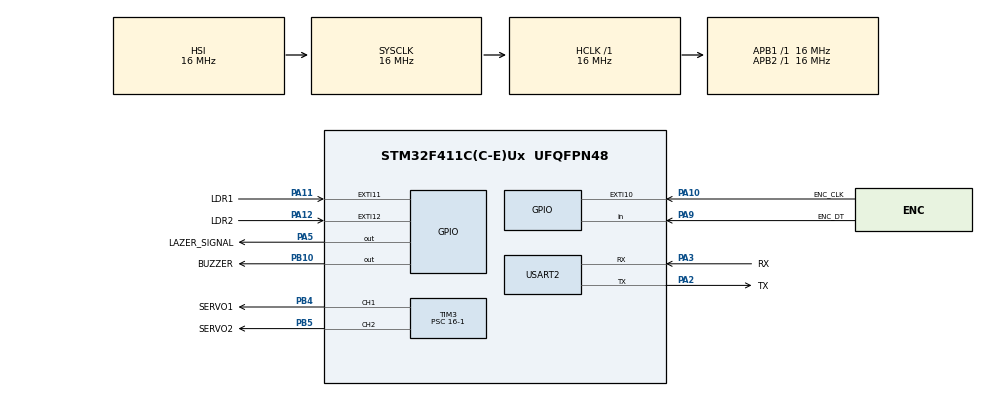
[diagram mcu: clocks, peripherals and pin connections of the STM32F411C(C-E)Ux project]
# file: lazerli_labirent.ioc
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Mcu.Family=STM32F4
Mcu.Name=STM32F411C(C-E)Ux
Mcu.Package=UFQFPN48
NVIC.EXTI15_10_IRQn=true\:0\:0\:false\:false\:true\:true\:true\:true
NVIC.PriorityGroup=NVIC_PRIORITYGROUP_4
NVIC.USART2_IRQn=true\:0\:0\:false\:false\:true\:true\:true\:true
PA10.GPIO_Label=ENC_CLK
PA10.GPIO_ModeDefaultEXTI=GPIO_MODE_IT_RISING
PA10.Signal=GPXTI10
PA11.GPIO_Label=LDR1
PA11.GPIO_ModeDefaultEXTI=GPIO_MODE_IT_RISING_FALLING
PA11.Signal=GPXTI11
PA12.GPIO_Label=LDR2
PA12.GPIO_ModeDefaultEXTI=GPIO_MODE_IT_RISING_FALLING
PA12.Signal=GPXTI12
PA2.GPIO_Label=TX
PA2.Mode=Asynchronous
PA2.Signal=USART2_TX
PA3.GPIO_Label=RX
PA3.Mode=Asynchronous
PA3.Signal=USART2_RX
PA5.GPIO_Label=LAZER_SIGNAL
PA5.Signal=GPIO_Output
PA9.GPIO_Label=ENC_DT
PA9.GPIO_PuPd=GPIO_PULLUP
PA9.Signal=GPIO_Input
PB10.GPIO_Label=BUZZER
PB10.Signal=GPIO_Output
PB4.GPIO_Label=SERVO1
PB4.Signal=S_TIM3_CH1
PB5.GPIO_Label=SERVO2
PB5.Signal=S_TIM3_CH2
ProjectManager.HeapSize=0x200
ProjectManager.StackSize=0x400
ProjectManager.TargetToolchain=STM32CubeIDE
RCC.AHBFreq_Value=16000000
RCC.APB1Freq_Value=16000000
RCC.APB2Freq_Value=16000000
RCC.CortexFreq_Value=16000000
RCC.HSE_VALUE=25000000
RCC.HSI_VALUE=16000000
RCC.LSE_VALUE=32768
RCC.SYSCLKFreq_VALUE=16000000
RCC.VCOOutputFreq_Value=192000000
SH.S_TIM3_CH1.0=TIM3_CH1,PWM Generation1 CH1
SH.S_TIM3_CH2.0=TIM3_CH2,PWM Generation2 CH2
TIM3.Channel-PWM\ Generation1\ CH1=TIM_CHANNEL_1
TIM3.Channel-PWM\ Generation2\ CH2=TIM_CHANNEL_2
TIM3.Period=19999
TIM3.Prescaler=16-1
USART2.VirtualMode=VM_ASYNC
VP_TIM3_VS_ClockSourceINT.Mode=Internal
board=custom

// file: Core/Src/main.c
/* USER CODE BEGIN Header */
/**
 ******************************************************************************
 * @file           : main.c
 * @brief          : Main program body
 ******************************************************************************
 * @attention
 *
 * Copyright (c) 2026 STMicroelectronics.
 * All rights reserved.
 *
 * This software is licensed under terms that can be found in the LICENSE file
 * in the root directory of this software component.
 * If no LICENSE file comes with this software, it is provided AS-IS.
 *
 ******************************************************************************
 */
/* USER CODE END Header */
#include "main.h"

TIM_HandleTypeDef htim3;

UART_HandleTypeDef huart2;

/* USER CODE BEGIN PV */

uint8_t rx_buffer; // UART üzerinden asenkron olarak alınacak 1 Byte'lık komutu tutan değişken

/* USER CODE END PV */

void SystemClock_Config(void);
static void MX_GPIO_Init(void);
static void MX_TIM3_Init(void);
static void MX_USART2_UART_Init(void);

/* USER CODE BEGIN 0 */
volatile int servo_1_pwm = 1500;
volatile int servo_2_pwm = 1500;

/* USER CODE END 0 */

int main(void)
{

  /* MCU Configuration--------------------------------------------------------*/

  /* Reset of all peripherals, Initializes the Flash interface and the Systick. */
  HAL_Init();

  /* Configure the system clock */
  SystemClock_Config();

  /* Initialize all configured peripherals */
  MX_GPIO_Init();
  MX_TIM3_Init();
  MX_USART2_UART_Init();
  /* USER CODE BEGIN 2 */
	// servolar başlatıldı
	HAL_TIM_PWM_Start(&htim3, TIM_CHANNEL_1);
	HAL_TIM_PWM_Start(&htim3, TIM_CHANNEL_2);

	//servolar istenen pwm degerine getirildi
	__HAL_TIM_SET_COMPARE(&htim3, TIM_CHANNEL_1, servo_1_pwm);
	__HAL_TIM_SET_COMPARE(&htim3, TIM_CHANNEL_2, servo_2_pwm);

	// --- 2. UART Kesmesinin (Interrupt) Başlatılması ---
	// USART2 üzerinden 1 byte veri geldiğinde donanım kesmesi oluşturmasını sağlar.
	HAL_UART_Receive_IT(&huart2, &rx_buffer, 1);

  /* USER CODE END 2 */

  /* Infinite loop */
	while (1) {
	}

}

void SystemClock_Config(void)
{
  RCC_OscInitTypeDef RCC_OscInitStruct = {0};
  RCC_ClkInitTypeDef RCC_ClkInitStruct = {0};

  /** Configure the main internal regulator output voltage
  */
  __HAL_RCC_PWR_CLK_ENABLE();
  __HAL_PWR_VOLTAGESCALING_CONFIG(PWR_REGULATOR_VOLTAGE_SCALE1);

  /** Initializes the RCC Oscillators according to the specified parameters
  * in the RCC_OscInitTypeDef structure.
  */
  RCC_OscInitStruct.OscillatorType = RCC_OSCILLATORTYPE_HSI;
  RCC_OscInitStruct.HSIState = RCC_HSI_ON;
  RCC_OscInitStruct.HSICalibrationValue = RCC_HSICALIBRATION_DEFAULT;
  RCC_OscInitStruct.PLL.PLLState = RCC_PLL_NONE;
  if (HAL_RCC_OscConfig(&RCC_OscInitStruct) != HAL_OK)
  {
    Error_Handler();
  }

  /** Initializes the CPU, AHB and APB buses clocks
  */
  RCC_ClkInitStruct.ClockType = RCC_CLOCKTYPE_HCLK|RCC_CLOCKTYPE_SYSCLK
                              |RCC_CLOCKTYPE_PCLK1|RCC_CLOCKTYPE_PCLK2;
  RCC_ClkInitStruct.SYSCLKSource = RCC_SYSCLKSOURCE_HSI;
  RCC_ClkInitStruct.AHBCLKDivider = RCC_SYSCLK_DIV1;
  RCC_ClkInitStruct.APB1CLKDivider = RCC_HCLK_DIV1;
  RCC_ClkInitStruct.APB2CLKDivider = RCC_HCLK_DIV1;

  if (HAL_RCC_ClockConfig(&RCC_ClkInitStruct, FLASH_LATENCY_0) != HAL_OK)
  {
    Error_Handler();
  }
}

static void MX_TIM3_Init(void)
{

  TIM_ClockConfigTypeDef sClockSourceConfig = {0};
  TIM_MasterConfigTypeDef sMasterConfig = {0};
  TIM_OC_InitTypeDef sConfigOC = {0};

  htim3.Instance = TIM3;
  htim3.Init.Prescaler = 16-1;
  htim3.Init.CounterMode = TIM_COUNTERMODE_UP;
  htim3.Init.Period = 19999;
  htim3.Init.ClockDivision = TIM_CLOCKDIVISION_DIV1;
  htim3.Init.AutoReloadPreload = TIM_AUTORELOAD_PRELOAD_DISABLE;
  if (HAL_TIM_Base_Init(&htim3) != HAL_OK)
  {
    Error_Handler();
  }
  sClockSourceConfig.ClockSource = TIM_CLOCKSOURCE_INTERNAL;
  if (HAL_TIM_ConfigClockSource(&htim3, &sClockSourceConfig) != HAL_OK)
  {
    Error_Handler();
  }
  if (HAL_TIM_PWM_Init(&htim3) != HAL_OK)
  {
    Error_Handler();
  }
  sMasterConfig.MasterOutputTrigger = TIM_TRGO_RESET;
  sMasterConfig.MasterSlaveMode = TIM_MASTERSLAVEMODE_DISABLE;
  if (HAL_TIMEx_MasterConfigSynchronization(&htim3, &sMasterConfig) != HAL_OK)
  {
    Error_Handler();
  }
  sConfigOC.OCMode = TIM_OCMODE_PWM1;
  sConfigOC.Pulse = 0;
  sConfigOC.OCPolarity = TIM_OCPOLARITY_HIGH;
  sConfigOC.OCFastMode = TIM_OCFAST_DISABLE;
  if (HAL_TIM_PWM_ConfigChannel(&htim3, &sConfigOC, TIM_CHANNEL_1) != HAL_OK)
  {
    Error_Handler();
  }
  if (HAL_TIM_PWM_ConfigChannel(&htim3, &sConfigOC, TIM_CHANNEL_2) != HAL_OK)
  {
    Error_Handler();
  }
  HAL_TIM_MspPostInit(&htim3);

}

static void MX_USART2_UART_Init(void)
{

  huart2.Instance = USART2;
  huart2.Init.BaudRate = 115200;
  huart2.Init.WordLength = UART_WORDLENGTH_8B;
  huart2.Init.StopBits = UART_STOPBITS_1;
  huart2.Init.Parity = UART_PARITY_NONE;
  huart2.Init.Mode = UART_MODE_TX_RX;
  huart2.Init.HwFlowCtl = UART_HWCONTROL_NONE;
  huart2.Init.OverSampling = UART_OVERSAMPLING_16;
  if (HAL_UART_Init(&huart2) != HAL_OK)
  {
    Error_Handler();
  }

}

static void MX_GPIO_Init(void)
{
  GPIO_InitTypeDef GPIO_InitStruct = {0};

  /* GPIO Ports Clock Enable */
  __HAL_RCC_GPIOA_CLK_ENABLE();
  __HAL_RCC_GPIOB_CLK_ENABLE();

  /*Configure GPIO pin Output Level */
  HAL_GPIO_WritePin(LAZER_SIGNAL_GPIO_Port, LAZER_SIGNAL_Pin, GPIO_PIN_RESET);

  /*Configure GPIO pin Output Level */
  HAL_GPIO_WritePin(BUZZER_GPIO_Port, BUZZER_Pin, GPIO_PIN_RESET);

  /*Configure GPIO pin : LAZER_SIGNAL_Pin */
  GPIO_InitStruct.Pin = LAZER_SIGNAL_Pin;
  GPIO_InitStruct.Mode = GPIO_MODE_OUTPUT_PP;
  GPIO_InitStruct.Pull = GPIO_NOPULL;
  GPIO_InitStruct.Speed = GPIO_SPEED_FREQ_LOW;
  HAL_GPIO_Init(LAZER_SIGNAL_GPIO_Port, &GPIO_InitStruct);

  /*Configure GPIO pin : BUZZER_Pin */
  GPIO_InitStruct.Pin = BUZZER_Pin;
  GPIO_InitStruct.Mode = GPIO_MODE_OUTPUT_PP;
  GPIO_InitStruct.Pull = GPIO_NOPULL;
  GPIO_InitStruct.Speed = GPIO_SPEED_FREQ_LOW;
  HAL_GPIO_Init(BUZZER_GPIO_Port, &GPIO_InitStruct);

  /*Configure GPIO pin : ENC_DT_Pin */
  GPIO_InitStruct.Pin = ENC_DT_Pin;
  GPIO_InitStruct.Mode = GPIO_MODE_INPUT;
  GPIO_InitStruct.Pull = GPIO_PULLUP;
  HAL_GPIO_Init(ENC_DT_GPIO_Port, &GPIO_InitStruct);

  /*Configure GPIO pin : ENC_CLK_Pin */
  GPIO_InitStruct.Pin = ENC_CLK_Pin;
  GPIO_InitStruct.Mode = GPIO_MODE_IT_RISING;
  GPIO_InitStruct.Pull = GPIO_NOPULL;
  HAL_GPIO_Init(ENC_CLK_GPIO_Port, &GPIO_InitStruct);

  /*Configure GPIO pins : LDR1_Pin LDR2_Pin */
  GPIO_InitStruct.Pin = LDR1_Pin|LDR2_Pin;
  GPIO_InitStruct.Mode = GPIO_MODE_IT_RISING_FALLING;
  GPIO_InitStruct.Pull = GPIO_NOPULL;
  HAL_GPIO_Init(GPIOA, &GPIO_InitStruct);

  /* EXTI interrupt init*/
  HAL_NVIC_SetPriority(EXTI15_10_IRQn, 0, 0);
  HAL_NVIC_EnableIRQ(EXTI15_10_IRQn);

}

/* USER CODE BEGIN 4 */

void HAL_UART_RxCpltCallback(UART_HandleTypeDef *huart) {
	// Gelen kesmenin bizim beklediğimiz USART2 hattından gelip gelmediği kontrol edilir
	if (huart->Instance == USART2) {
		// Gelen komutun (rx_buffer) ASCII değerine göre analiz yapılması
		switch (rx_buffer) {
		case '1':
		    if (servo_1_pwm < 2000) servo_1_pwm += 100;
		    HAL_UART_Transmit(&huart2, (uint8_t*)"1\n", 2, 100);
		    __HAL_TIM_SET_COMPARE(&htim3, TIM_CHANNEL_1, servo_1_pwm);
		    break;

		case '2':
		    if (servo_1_pwm > 1000) servo_1_pwm -= 100;
		    HAL_UART_Transmit(&huart2, (uint8_t*)"2\n", 2, 100);
		    __HAL_TIM_SET_COMPARE(&htim3, TIM_CHANNEL_1, servo_1_pwm);
		    break;

		case '3':
		    if (servo_2_pwm < 2000) servo_2_pwm += 100;
		    HAL_UART_Transmit(&huart2, (uint8_t*)"3\n", 2, 100);
		    __HAL_TIM_SET_COMPARE(&htim3, TIM_CHANNEL_2, servo_2_pwm);
		    break;

		case '4':
		    if (servo_2_pwm > 1000) servo_2_pwm -= 100;
		    HAL_UART_Transmit(&huart2, (uint8_t*)"4\n", 2, 100);
		    __HAL_TIM_SET_COMPARE(&htim3, TIM_CHANNEL_2, servo_2_pwm);
		    break;

		case 'L':
		    HAL_GPIO_TogglePin(LAZER_SIGNAL_GPIO_Port, LAZER_SIGNAL_Pin);
		    if (HAL_GPIO_ReadPin(LAZER_SIGNAL_GPIO_Port, LAZER_SIGNAL_Pin))
		        HAL_UART_Transmit(&huart2, (uint8_t*)"L1\n", 3, 100);
		    else
		        HAL_UART_Transmit(&huart2, (uint8_t*)"L0\n", 3, 100);
		    break;

		default:
		    HAL_UART_Transmit(&huart2, (uint8_t*)"E\n", 2, 100);
		    break;
		}

		// İşlemciyi bir sonraki gelecek byte için tekrar dinleme moduna al (huart2)
		HAL_UART_Receive_IT(&huart2, &rx_buffer, 1);
	}
}

void HAL_GPIO_EXTI_Callback(uint16_t GPIO_Pin) {

    if (GPIO_Pin == LDR1_Pin) {
        if ((HAL_GPIO_ReadPin(LAZER_SIGNAL_GPIO_Port, LAZER_SIGNAL_Pin) == GPIO_PIN_SET) &&
            (servo_1_pwm == 1500)) {

            if (HAL_GPIO_ReadPin(GPIOA, LDR1_Pin) == GPIO_PIN_SET) {
                HAL_GPIO_WritePin(BUZZER_GPIO_Port, BUZZER_Pin, GPIO_PIN_SET);
            } else {
                HAL_GPIO_WritePin(BUZZER_GPIO_Port, BUZZER_Pin, GPIO_PIN_RESET);
            }
        } else {
            HAL_GPIO_WritePin(BUZZER_GPIO_Port, BUZZER_Pin, GPIO_PIN_RESET);
        }
    }

    if (GPIO_Pin == LDR2_Pin) {
        if ((HAL_GPIO_ReadPin(LAZER_SIGNAL_GPIO_Port, LAZER_SIGNAL_Pin) == GPIO_PIN_SET) &&
            (servo_2_pwm == 1500)) {

            if (HAL_GPIO_ReadPin(GPIOA, LDR2_Pin) == GPIO_PIN_SET) {
                HAL_GPIO_WritePin(BUZZER_GPIO_Port, BUZZER_Pin, GPIO_PIN_SET);
            } else {
                HAL_GPIO_WritePin(BUZZER_GPIO_Port, BUZZER_Pin, GPIO_PIN_RESET);
            }
        } else {
            HAL_GPIO_WritePin(BUZZER_GPIO_Port, BUZZER_Pin, GPIO_PIN_RESET);
        }
    }
}

/*
 void HAL_GPIO_EXTI_Callback(uint16_t GPIO_Pin)
 {
 if(GPIO_Pin == ENC_CLK_Pin)
 {
 GPIO_PinState clk_durumu = HAL_GPIO_ReadPin(ENC_CLK_GPIO_Port, ENC_CLK_Pin);
 GPIO_PinState dt_durumu  = HAL_GPIO_ReadPin(ENC_DT_GPIO_Port, ENC_DT_Pin);

 if (clk_durumu != dt_durumu)
 {
 if (servo_1_pwm < 2000) servo_1_pwm += 20;
 }
 else
 {
 if (servo_1_pwm > 1000) servo_1_pwm -= 20;
 }
 __HAL_TIM_SET_COMPARE(&htim3, TIM_CHANNEL_1, servo_1_pwm);
 }
 }
 */

/* USER CODE END 4 */

void Error_Handler(void)
{
	__disable_irq();
	while (1) {
	}
}
